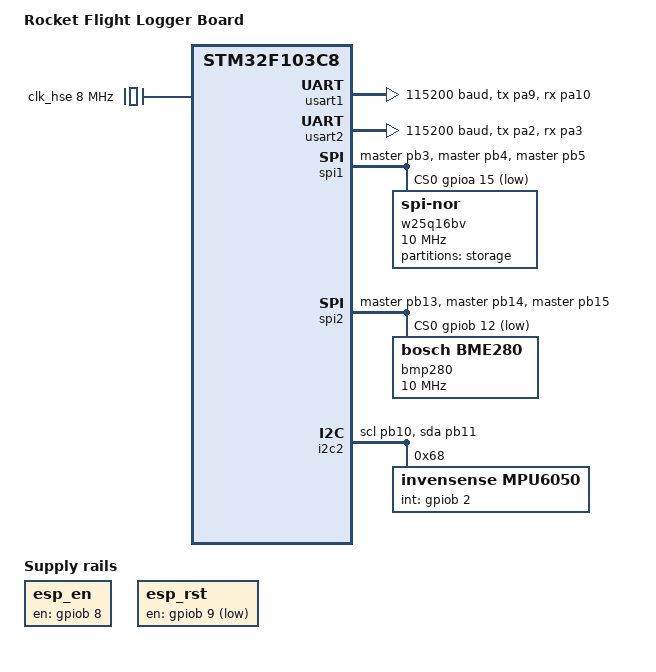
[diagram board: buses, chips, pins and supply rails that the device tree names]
/*
 * Copyright (c) 2021 Nordic Semiconductor ASA
 * SPDX-License-Identifier: Apache-2.0
 */

/dts-v1/;
#include <st/f1/stm32f103X8.dtsi>
#include <st/f1/stm32f103c(8-b)tx-pinctrl.dtsi>

/ {
	model = "Rocket Flight Logger Board";
	compatible = "st,stm32f103c8";

	chosen {
		zephyr,console = &usart1;
		zephyr,shell-uart = &usart1;
		zephyr,sram = &sram0;
		zephyr,flash = &flash0;
	};

	esp_en: regulator_esp_en {
		compatible = "regulator-fixed";
		regulator-name = "ESP_EN";
		enable-gpios = <&gpiob 8 GPIO_ACTIVE_HIGH>;
	};

	esp_rst: regulator_esp_rst {
		compatible = "regulator-fixed";
		regulator-name = "ESP_RST";
		enable-gpios = <&gpiob 9 GPIO_ACTIVE_LOW>;
	};
};

&pinctrl {
    swj-cfg = "jtag-disable";
};

&clk_hse {
	clock-frequency = <DT_FREQ_M(8)>;
	status = "okay";
};

&pll {
	mul = <9>;
	clocks = <&clk_hse>;
	status = "okay";
};

&rcc {
	clocks = <&pll>;
	clock-frequency = <DT_FREQ_M(72)>;
	ahb-prescaler = <1>;
	apb1-prescaler = <2>;
	apb2-prescaler = <1>;
};

&usart1 {
	pinctrl-0 = <&usart1_tx_pa9 &usart1_rx_pa10>;
	current-speed = <115200>;
	pinctrl-names = "default";
	status = "okay";
};

&usart2 {
	pinctrl-0 = <&usart2_tx_pa2 &usart2_rx_pa3>;
	current-speed = <115200>;
	pinctrl-names = "default";
	status = "okay";
};

&spi1 {
	pinctrl-0 = <&spi1_sck_remap1_master_pb3 &spi1_miso_remap1_master_pb4 &spi1_mosi_remap1_master_pb5>;
	pinctrl-names = "default";
	status = "okay";
	cs-gpios = <&gpioa 15 GPIO_ACTIVE_LOW>;

	w25q16bv: w25q16bv@0 {
		compatible = "jedec,spi-nor";
		spi-max-frequency = <10000000>;
		reg = <0>;
		size = <DT_SIZE_M(16)>;
		jedec-id = [ef 40 15];
		has-dpd;
		t-enter-dpd = <3500>;
		t-exit-dpd = <3500>;

		partitions {
			compatible = "fixed-partitions";
			#address-cells = <1>;
			#size-cells = <1>;

			storage_partition: partition@0 {
				label = "storage";
				reg = <0x00000000 DT_SIZE_M(2)>;
			};
		};
	};
};

&spi2 {
	pinctrl-0 = <&spi2_sck_master_pb13 &spi2_miso_master_pb14 &spi2_mosi_master_pb15>;
	pinctrl-names = "default";
	status = "okay";
	cs-gpios = <&gpiob 12 GPIO_ACTIVE_LOW>;

	bmp280: bmp280@0 {
		compatible = "bosch,bme280";
		status = "okay";
		reg = <0>;
		spi-max-frequency = <10000000>;
	};
};

&i2c2 {
	pinctrl-0 = <&i2c2_scl_pb10 &i2c2_sda_pb11>;
	pinctrl-names = "default";
	status = "okay";

	mpu6050: mpu6050@68 {
		compatible = "invensense,mpu6050";
		status = "okay";
		reg = <0x68>;
		int-gpios = <&gpiob 2 GPIO_ACTIVE_HIGH>;
	};
};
